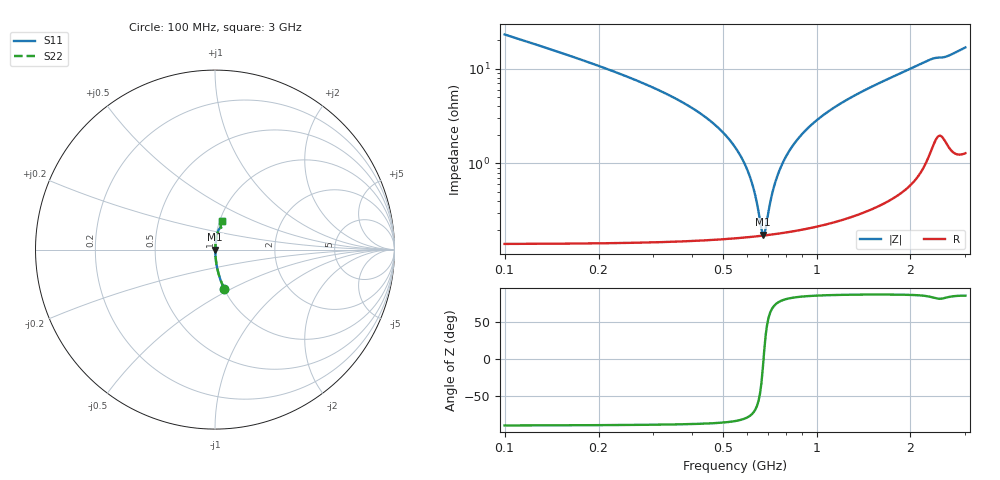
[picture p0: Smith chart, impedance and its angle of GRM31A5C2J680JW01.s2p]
!Murata Part Number: GRM31A5C2J680JW01
!These Parameters are Measured in Series Mode Connection
!Data Generated on Mar 30, 2021
!  o--ll--o
!Port1  Port2
!  o------o
!Operation Temp=25[degC], DC Bias Voltage=0[V]
!Freq. Start=100[MHz] Stop=3[GHz] 401[Steps]
# Hz S RI R 50
!Freq.(Hz) S11(Real) S11(Imag) S21(Real) S21(Imag) S12(Real) S12(Imag) S22(Real) S22(Imag)
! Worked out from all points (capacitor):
!   401 points, 100 MHz to 3 GHz, reference 50 ohm
!   read as one part in series: C = 68 pF near 114.5 MHz
!   lowest |Z| = 176 mohm at 672.8 MHz (marker M1)
!   series resonance near 676.2 MHz, so ESL is about 820 pH
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1e8  0.051 -0.217  0.949 0.217  0.949 0.217  0.051 -0.217
1.6525e8  0.0188 -0.1306  0.9812 0.1306  0.9812 0.1306  0.0188 -0.1306
2.305e8  0.00941 -0.0889  0.9906 0.0889  0.9906 0.0889  0.00941 -0.0889
4.77e8  0.00217 -0.0247  0.9978 0.0247  0.9978 0.0247  0.00217 -0.0247
5.4225e8  0.00185 -0.0154  0.9982 0.0154  0.9982 0.0154  0.00185 -0.0154
5.8575e8  0.00175 -0.01  0.9983 0.01  0.9983 0.01  0.00175 -0.01
6.22e8  0.00171 -0.00581  0.9983 0.00581  0.9983 0.00581  0.00171 -0.00581
6.5825e8  0.00171 -0.00187  0.9983 0.00187  0.9983 0.00187  0.00171 -0.00187
6.7275e8  0.00173 -0.000354  0.9983 0.000354  0.9983 0.000354  0.00173 -0.000354
6.8725e8  0.00174 0.00113  0.9983 -0.00113  0.9983 -0.00113  0.00174 0.00113
7.1625e8  0.00179 0.00401  0.9982 -0.00401  0.9982 -0.00401  0.00179 0.00401
7.4525e8  0.00185 0.00679  0.9982 -0.00679  0.9982 -0.00679  0.00185 0.00679
8.0325e8  0.00201 0.0121  0.998 -0.0121  0.998 -0.0121  0.00201 0.0121
8.54e8  0.0022 0.0165  0.9978 -0.0165  0.9978 -0.0165  0.0022 0.0165
9.12e8  0.00246 0.0213  0.9975 -0.0213  0.9975 -0.0213  0.00246 0.0213
1.0715e9  0.00339 0.0336  0.9966 -0.0336  0.9966 -0.0336  0.00339 0.0336
1.2745e9  0.00499 0.0481  0.995 -0.0481  0.995 -0.0481  0.00499 0.0481
1.55e9  0.00792 0.0668  0.9921 -0.0668  0.9921 -0.0668  0.00792 0.0668
2.03575e9  0.0164 0.1  0.9836 -0.1  0.9836 -0.1  0.0164 0.1
2.333e9  0.0284 0.1198  0.9716 -0.1198  0.9716 -0.1198  0.0284 0.1198
2.5215e9  0.0344 0.1228  0.9656 -0.1228  0.9656 -0.1228  0.0344 0.1228
3e9  0.0387 0.1582  0.9613 -0.1582  0.9613 -0.1582  0.0387 0.1582
